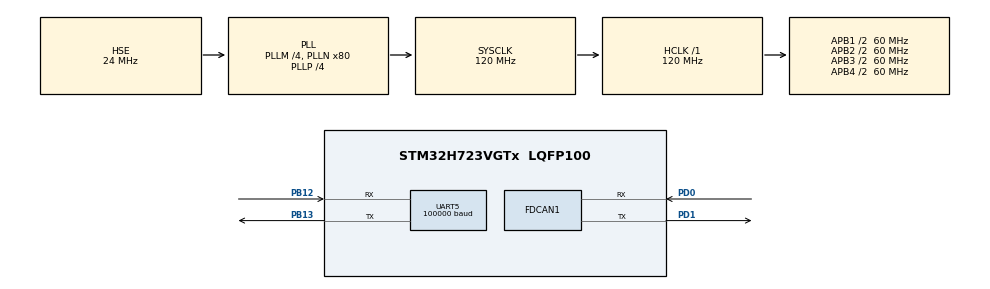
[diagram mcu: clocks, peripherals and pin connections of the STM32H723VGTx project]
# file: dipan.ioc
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CORTEX_M7.default_mode_Activation=1
Dma.Request0=UART5_RX
Dma.UART5_RX.0.Direction=DMA_PERIPH_TO_MEMORY
Dma.UART5_RX.0.EventEnable=DISABLE
Dma.UART5_RX.0.FIFOMode=DMA_FIFOMODE_DISABLE
Dma.UART5_RX.0.Instance=DMA1_Stream0
Dma.UART5_RX.0.MemDataAlignment=DMA_MDATAALIGN_BYTE
Dma.UART5_RX.0.MemInc=DMA_MINC_ENABLE
Dma.UART5_RX.0.Mode=DMA_CIRCULAR
Dma.UART5_RX.0.PeriphDataAlignment=DMA_PDATAALIGN_BYTE
Dma.UART5_RX.0.PeriphInc=DMA_PINC_DISABLE
Dma.UART5_RX.0.Polarity=HAL_DMAMUX_REQ_GEN_RISING
Dma.UART5_RX.0.Priority=DMA_PRIORITY_LOW
Dma.UART5_RX.0.RequestNumber=1
Dma.UART5_RX.0.SignalID=NONE
Dma.UART5_RX.0.SyncEnable=DISABLE
Dma.UART5_RX.0.SyncPolarity=HAL_DMAMUX_SYNC_NO_EVENT
Dma.UART5_RX.0.SyncRequestNumber=1
Dma.UART5_RX.0.SyncSignalID=NONE
FDCAN1.CalculateBaudRateNominal=1000000
FDCAN1.CalculateTimeBitNominal=1000
FDCAN1.CalculateTimeQuantumNominal=100.0
FDCAN1.NominalPrescaler=8
FDCAN1.NominalTimeSeg1=7
FDCAN1.NominalTimeSeg2=2
Mcu.Family=STM32H7
Mcu.Name=STM32H723VGTx
Mcu.Package=LQFP100
NVIC.DMA1_Stream0_IRQn=true\:0\:0\:false\:false\:true\:false\:true\:true
NVIC.FDCAN1_IT0_IRQn=true\:0\:0\:false\:false\:true\:true\:true\:true
NVIC.PriorityGroup=NVIC_PRIORITYGROUP_4
NVIC.UART5_IRQn=true\:0\:0\:false\:false\:true\:true\:true\:true
PA13(JTMS/SWDIO).Mode=Serial_Wire
PA13(JTMS/SWDIO).Signal=DEBUG_JTMS-SWDIO
PA14(JTCK/SWCLK).Mode=Serial_Wire
PA14(JTCK/SWCLK).Signal=DEBUG_JTCK-SWCLK
PB12.Mode=Asynchronous
PB12.Signal=UART5_RX
PB13.Mode=Asynchronous
PB13.Signal=UART5_TX
PD0.Mode=FDCAN_Activate
PD0.Signal=FDCAN1_RX
PD1.Mode=FDCAN_Activate
PD1.Signal=FDCAN1_TX
PH0-OSC_IN.Mode=HSE-External-Oscillator
PH0-OSC_IN.Signal=RCC_OSC_IN
PH1-OSC_OUT.Mode=HSE-External-Oscillator
PH1-OSC_OUT.Signal=RCC_OSC_OUT
ProjectManager.HeapSize=0x200
ProjectManager.StackSize=0x400
ProjectManager.TargetToolchain=CMake
RCC.ADCFreq_Value=120000000
RCC.APB1Freq_Value=60000000
RCC.APB2Freq_Value=60000000
RCC.APB3Freq_Value=60000000
RCC.APB4Freq_Value=60000000
RCC.CortexFreq_Value=120000000
RCC.D1PPRE=RCC_APB3_DIV2
RCC.D2PPRE1=RCC_APB1_DIV2
RCC.D2PPRE2=RCC_APB2_DIV2
RCC.D3PPRE=RCC_APB4_DIV2
RCC.DIVM1=4
RCC.DIVM2=2
RCC.DIVN1=80
RCC.DIVN2=20
RCC.DIVP1=4
RCC.DIVQ1=8
RCC.DIVQ2=3
RCC.FDCANCLockSelection=RCC_FDCANCLKSOURCE_PLL2
RCC.HCLKFreq_Value=120000000
RCC.HSE_VALUE=24000000
RCC.PLL2FRACN=0
RCC.PLL3FRACN=0
RCC.PLLFRACN=0
RCC.PLLSourceVirtual=RCC_PLLSOURCE_HSE
RCC.SYSCLKFreq_VALUE=120000000
RCC.SYSCLKSource=RCC_SYSCLKSOURCE_PLLCLK
RCC.USBFreq_Value=60000000
UART5.BaudRate=100000
UART5.Parity=PARITY_EVEN
UART5.StopBits=UART_STOPBITS_2
UART5.WordLength=WORDLENGTH_9B
VP_MEMORYMAP_VS_MEMORYMAP.Mode=CurAppReg
board=custom

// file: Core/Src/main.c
/* USER CODE BEGIN Header */
/**
  ******************************************************************************
  * @file           : main.c
  * @brief          : Main program body
  ******************************************************************************
  */
/* USER CODE END Header */
#include "main.h"
#include "dma.h"
#include "fdcan.h"
#include "usart.h"
#include "gpio.h"

/* USER CODE BEGIN Includes */
#include "robot_config.h"
#include "chassis.h"
#include "motor.h"
#include "remote.h"
/* USER CODE END Includes */

void SystemClock_Config(void);
static void MPU_Config(void);

int main(void)
{

  /* MPU Configuration--------------------------------------------------------*/
  //MPU_Config();

  /* MCU Configuration--------------------------------------------------------*/

  /* Reset of all peripherals, Initializes the Flash interface and the Systick. */
  HAL_Init();

  /* Configure the system clock */
  SystemClock_Config();

  /* Initialize all configured peripherals */
  MX_GPIO_Init();
  MX_DMA_Init();
  MX_UART5_Init();
  MX_FDCAN1_Init();
  /* USER CODE BEGIN 2 */
  // 1. 先配过滤器（必须在 Start 之前，否则 HAL_FDCAN_ConfigFilter 返回错误）
  FDCAN_FilterTypeDef sFilterConfig = {0};
  sFilterConfig.IdType = FDCAN_STANDARD_ID;
  sFilterConfig.FilterIndex = 0;
  sFilterConfig.FilterType = FDCAN_FILTER_MASK;
  sFilterConfig.FilterConfig = FDCAN_FILTER_TO_RXFIFO0;
  sFilterConfig.FilterID1 = 0x000;   // ID
  sFilterConfig.FilterID2 = 0x000;   // 掩码 0 = 接收所有标准帧
  if (HAL_FDCAN_ConfigFilter(&hfdcan1, &sFilterConfig) != HAL_OK)
  {
    Error_Handler();
  }

  // 2. 再启动 FDCAN1
  if (HAL_FDCAN_Start(&hfdcan1) != HAL_OK)
  {
    Error_Handler();
  }

  // 3. 最后开启接收中断
  if (HAL_FDCAN_ActivateNotification(&hfdcan1, FDCAN_IT_RX_FIFO0_NEW_MESSAGE, 0) != HAL_OK)
  {
    Error_Handler();
  }

  // 4. 底盘初始化：电机反馈清零、启动 DBUS DMA 接收、速度环 PID 初始化
  Chassis_Init();
  /* USER CODE END 2 */

  /* Infinite loop */
  /* USER CODE BEGIN WHILE */
  uint32_t last_wakeup = HAL_GetTick();

  /*
   * 主循环只做一件事：每 1ms 跑一次底盘任务。
   * 实际 dt 用 HAL_GetTick() 算出来传进去，偶尔晚个 1ms 也不会影响 PID 正确性。
   * （DBUS 接收和 CAN 接收都在中断里完成，这里不需要查询。）
   */
  while (1)
  {
    uint32_t now     = HAL_GetTick();
    uint32_t elapsed = now - last_wakeup;

    if (elapsed >= CHASSIS_TASK_PERIOD_MS)
    {
      last_wakeup = now;
      Chassis_Task((float)elapsed * 0.001f);
    }
    /* USER CODE END WHILE */

  }
}

void SystemClock_Config(void)
{
  RCC_OscInitTypeDef RCC_OscInitStruct = {0};
  RCC_ClkInitTypeDef RCC_ClkInitStruct = {0};

  /** Supply configuration update enable
  */
  HAL_PWREx_ConfigSupply(PWR_LDO_SUPPLY);

  /** Configure the main internal regulator output voltage
  */
  __HAL_PWR_VOLTAGESCALING_CONFIG(PWR_REGULATOR_VOLTAGE_SCALE2);

  while(!__HAL_PWR_GET_FLAG(PWR_FLAG_VOSRDY)) {}

  /** Initializes the RCC Oscillators according to the specified parameters
  * in the RCC_OscInitTypeDef structure.
  */
  RCC_OscInitStruct.OscillatorType = RCC_OSCILLATORTYPE_HSE;
  RCC_OscInitStruct.HSEState = RCC_HSE_ON;
  RCC_OscInitStruct.PLL.PLLState = RCC_PLL_ON;
  RCC_OscInitStruct.PLL.PLLSource = RCC_PLLSOURCE_HSE;
  RCC_OscInitStruct.PLL.PLLM = 4;
  RCC_OscInitStruct.PLL.PLLN = 80;
  RCC_OscInitStruct.PLL.PLLP = 4;
  RCC_OscInitStruct.PLL.PLLQ = 8;
  RCC_OscInitStruct.PLL.PLLR = 2;
  RCC_OscInitStruct.PLL.PLLRGE = RCC_PLL1VCIRANGE_2;
  RCC_OscInitStruct.PLL.PLLVCOSEL = RCC_PLL1VCOWIDE;
  RCC_OscInitStruct.PLL.PLLFRACN = 0;
  if (HAL_RCC_OscConfig(&RCC_OscInitStruct) != HAL_OK)
  {
    Error_Handler();
  }

  /** Initializes the CPU, AHB and APB buses clocks
  */
  RCC_ClkInitStruct.ClockType = RCC_CLOCKTYPE_HCLK|RCC_CLOCKTYPE_SYSCLK
                              |RCC_CLOCKTYPE_PCLK1|RCC_CLOCKTYPE_PCLK2
                              |RCC_CLOCKTYPE_D3PCLK1|RCC_CLOCKTYPE_D1PCLK1;
  RCC_ClkInitStruct.SYSCLKSource = RCC_SYSCLKSOURCE_PLLCLK;
  RCC_ClkInitStruct.SYSCLKDivider = RCC_SYSCLK_DIV1;
  RCC_ClkInitStruct.AHBCLKDivider = RCC_HCLK_DIV1;
  RCC_ClkInitStruct.APB3CLKDivider = RCC_APB3_DIV2;
  RCC_ClkInitStruct.APB1CLKDivider = RCC_APB1_DIV2;
  RCC_ClkInitStruct.APB2CLKDivider = RCC_APB2_DIV2;
  RCC_ClkInitStruct.APB4CLKDivider = RCC_APB4_DIV2;

  if (HAL_RCC_ClockConfig(&RCC_ClkInitStruct, FLASH_LATENCY_2) != HAL_OK)
  {
    Error_Handler();
  }
}

 /* MPU Configuration */

void MPU_Config(void)
{
  MPU_Region_InitTypeDef MPU_InitStruct = {0};

  /* Disables the MPU */
  HAL_MPU_Disable();

  /** Initializes and configures the Region and the memory to be protected
  */
  MPU_InitStruct.Enable = MPU_REGION_ENABLE;
  MPU_InitStruct.Number = MPU_REGION_NUMBER0;
  MPU_InitStruct.BaseAddress = 0x0;
  MPU_InitStruct.Size = MPU_REGION_SIZE_4GB;
  MPU_InitStruct.SubRegionDisable = 0x87;
  MPU_InitStruct.TypeExtField = MPU_TEX_LEVEL0;
  MPU_InitStruct.AccessPermission = MPU_REGION_NO_ACCESS;
  MPU_InitStruct.DisableExec = MPU_INSTRUCTION_ACCESS_DISABLE;
  MPU_InitStruct.IsShareable = MPU_ACCESS_SHAREABLE;
  MPU_InitStruct.IsCacheable = MPU_ACCESS_NOT_CACHEABLE;
  MPU_InitStruct.IsBufferable = MPU_ACCESS_NOT_BUFFERABLE;

  HAL_MPU_ConfigRegion(&MPU_InitStruct);
  /* Enables the MPU */
  HAL_MPU_Enable(MPU_PRIVILEGED_DEFAULT);

}

void Error_Handler(void)
{
  __disable_irq();
  while (1)
  {
  }
}
